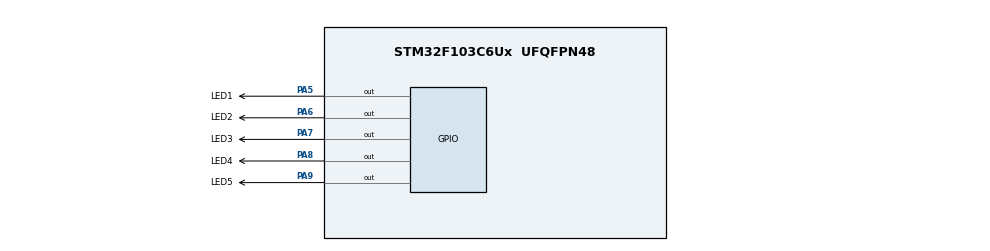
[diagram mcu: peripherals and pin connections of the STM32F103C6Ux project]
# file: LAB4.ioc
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Mcu.Family=STM32F1
Mcu.Name=STM32F103C6Ux
Mcu.Package=UFQFPN48
NVIC.PriorityGroup=NVIC_PRIORITYGROUP_4
NVIC.TIM2_IRQn=true\:0\:0\:false\:false\:true\:true\:true
PA5.GPIO_Label=LED1
PA5.Signal=GPIO_Output
PA6.GPIO_Label=LED2
PA6.Signal=GPIO_Output
PA7.GPIO_Label=LED3
PA7.Signal=GPIO_Output
PA8.GPIO_Label=LED4
PA8.Signal=GPIO_Output
PA9.GPIO_Label=LED5
PA9.Signal=GPIO_Output
ProjectManager.HeapSize=0x200
ProjectManager.StackSize=0x400
ProjectManager.TargetToolchain=STM32CubeIDE
RCC.APB1Freq_Value=8000000
RCC.APB2Freq_Value=8000000
TIM2.Period=7999
TIM2.Prescaler=10
VP_SYS_VS_ND.Mode=No_Debug
VP_TIM2_VS_ClockSourceINT.Mode=Internal
board=custom

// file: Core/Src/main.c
/* USER CODE BEGIN Header */
/**
  ******************************************************************************
  * @file           : main.c
  * @brief          : Main program body
  ******************************************************************************
  * @attention
  *
  * <h2><center>&copy; Copyright (c) 2022 STMicroelectronics.
  * All rights reserved.</center></h2>
  *
  * This software component is licensed by ST under BSD 3-Clause license,
  * the "License"; You may not use this file except in compliance with the
  * License. You may obtain a copy of the License at:
  *                        opensource.org/licenses/BSD-3-Clause
  *
  ******************************************************************************
  */
/* USER CODE END Header */
#include "main.h"

/* USER CODE BEGIN Includes */
#include "scheduler.h"
/* USER CODE END Includes */

TIM_HandleTypeDef htim2;

void SystemClock_Config(void);
static void MX_GPIO_Init(void);
static void MX_TIM2_Init(void);

/* USER CODE BEGIN 0 */
void Display_Led1();
void Display_Led2();
void Display_Led3();
void Display_Led4();
void Display_Led5();
/* USER CODE END 0 */

int main(void)
{

  /* MCU Configuration--------------------------------------------------------*/

  /* Reset of all peripherals, Initializes the Flash interface and the Systick. */
  HAL_Init();

  /* Configure the system clock */
  SystemClock_Config();

  /* Initialize all configured peripherals */
  MX_GPIO_Init();
  MX_TIM2_Init();
  /* USER CODE BEGIN 2 */
  HAL_TIM_Base_Start_IT(&htim2);
  SCH_Init();
  SCH_Add_Task(Display_Led1, 1000, 500);
  SCH_Add_Task(Display_Led2, 1000, 1000);
  SCH_Add_Task(Display_Led3, 3000, 1500);
  SCH_Add_Task(Display_Led4, 5000, 2000);
  SCH_Add_Task(Display_Led5, 2500, 0);
  /* USER CODE END 2 */

  /* Infinite loop */
  while (1)
  {

    /* USER CODE BEGIN 3 */
	  SCH_Dispatch_Task();
  }
  /* USER CODE END 3 */
}

void SystemClock_Config(void)
{
  RCC_OscInitTypeDef RCC_OscInitStruct = {0};
  RCC_ClkInitTypeDef RCC_ClkInitStruct = {0};

  /** Initializes the RCC Oscillators according to the specified parameters
  * in the RCC_OscInitTypeDef structure.
  */
  RCC_OscInitStruct.OscillatorType = RCC_OSCILLATORTYPE_HSI;
  RCC_OscInitStruct.HSIState = RCC_HSI_ON;
  RCC_OscInitStruct.HSICalibrationValue = RCC_HSICALIBRATION_DEFAULT;
  RCC_OscInitStruct.PLL.PLLState = RCC_PLL_NONE;
  if (HAL_RCC_OscConfig(&RCC_OscInitStruct) != HAL_OK)
  {
    Error_Handler();
  }
  /** Initializes the CPU, AHB and APB buses clocks
  */
  RCC_ClkInitStruct.ClockType = RCC_CLOCKTYPE_HCLK|RCC_CLOCKTYPE_SYSCLK
                              |RCC_CLOCKTYPE_PCLK1|RCC_CLOCKTYPE_PCLK2;
  RCC_ClkInitStruct.SYSCLKSource = RCC_SYSCLKSOURCE_HSI;
  RCC_ClkInitStruct.AHBCLKDivider = RCC_SYSCLK_DIV1;
  RCC_ClkInitStruct.APB1CLKDivider = RCC_HCLK_DIV1;
  RCC_ClkInitStruct.APB2CLKDivider = RCC_HCLK_DIV1;

  if (HAL_RCC_ClockConfig(&RCC_ClkInitStruct, FLASH_LATENCY_0) != HAL_OK)
  {
    Error_Handler();
  }
}

static void MX_TIM2_Init(void)
{

  TIM_ClockConfigTypeDef sClockSourceConfig = {0};
  TIM_MasterConfigTypeDef sMasterConfig = {0};

  htim2.Instance = TIM2;
  htim2.Init.Prescaler = 10;
  htim2.Init.CounterMode = TIM_COUNTERMODE_UP;
  htim2.Init.Period = 7999;
  htim2.Init.ClockDivision = TIM_CLOCKDIVISION_DIV1;
  htim2.Init.AutoReloadPreload = TIM_AUTORELOAD_PRELOAD_DISABLE;
  if (HAL_TIM_Base_Init(&htim2) != HAL_OK)
  {
    Error_Handler();
  }
  sClockSourceConfig.ClockSource = TIM_CLOCKSOURCE_INTERNAL;
  if (HAL_TIM_ConfigClockSource(&htim2, &sClockSourceConfig) != HAL_OK)
  {
    Error_Handler();
  }
  sMasterConfig.MasterOutputTrigger = TIM_TRGO_RESET;
  sMasterConfig.MasterSlaveMode = TIM_MASTERSLAVEMODE_DISABLE;
  if (HAL_TIMEx_MasterConfigSynchronization(&htim2, &sMasterConfig) != HAL_OK)
  {
    Error_Handler();
  }

}

static void MX_GPIO_Init(void)
{
  GPIO_InitTypeDef GPIO_InitStruct = {0};

  /* GPIO Ports Clock Enable */
  __HAL_RCC_GPIOA_CLK_ENABLE();

  /*Configure GPIO pin Output Level */
  HAL_GPIO_WritePin(GPIOA, LED1_Pin|LED2_Pin|LED3_Pin|LED4_Pin
                          |LED5_Pin, GPIO_PIN_RESET);

  /*Configure GPIO pins : LED1_Pin LED2_Pin LED3_Pin LED4_Pin
                           LED5_Pin */
  GPIO_InitStruct.Pin = LED1_Pin|LED2_Pin|LED3_Pin|LED4_Pin
                          |LED5_Pin;
  GPIO_InitStruct.Mode = GPIO_MODE_OUTPUT_PP;
  GPIO_InitStruct.Pull = GPIO_NOPULL;
  GPIO_InitStruct.Speed = GPIO_SPEED_FREQ_LOW;
  HAL_GPIO_Init(GPIOA, &GPIO_InitStruct);

}

/* USER CODE BEGIN 4 */
void HAL_TIM_PeriodElapsedCallback(TIM_HandleTypeDef * htim){
	SCH_Update();
}
void Display_Led1(){
	HAL_GPIO_TogglePin(LED1_GPIO_Port, LED1_Pin);
}
void Display_Led2(){
	HAL_GPIO_TogglePin(LED2_GPIO_Port, LED2_Pin);
}
void Display_Led3(){
	HAL_GPIO_TogglePin(LED3_GPIO_Port, LED3_Pin);
}
void Display_Led4(){
	HAL_GPIO_TogglePin(LED4_GPIO_Port, LED4_Pin);
}
void Display_Led5(){
	HAL_GPIO_TogglePin(LED5_GPIO_Port, LED5_Pin);
}
/* USER CODE END 4 */

void Error_Handler(void)
{
  __disable_irq();
  while (1)
  {
  }
}

/************************ (C) COPYRIGHT STMicroelectronics *****END OF FILE****/
